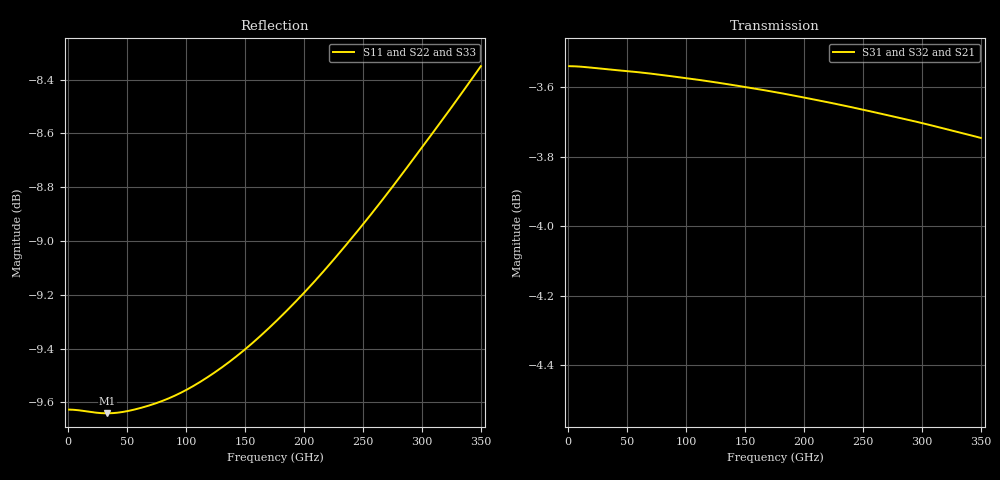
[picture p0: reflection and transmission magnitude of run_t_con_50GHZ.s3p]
#  Hz  S  RI  R  50
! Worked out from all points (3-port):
!   400 points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, 875 MHz to 350 GHz, reference 50 ohm
!   strongest paths, dB at 875 MHz, 88.38 GHz, 175.9 GHz, 263.4 GHz, 350 GHz:
!     S31: -3.5, -3.6, -3.6, -3.7, -3.7
!     S32: -3.5, -3.6, -3.6, -3.7, -3.7
!     S21: -3.5, -3.6, -3.7, -3.8, -3.9
!   lowest |S11| = -9.6 dB at 33.25 GHz (marker M1), VSWR 1.98, Z = 25.3 + j2.14 ohm
!   |S11| at or under -10 dB: nowhere
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8.75e8  -0.3301 0.00103  0.6647 -0.000865  0.6653 -0.000703
        0.6647 -0.000865  -0.3301 0.00103  0.6653 -0.000703
        0.6653 -0.000705  0.6653 -0.000706  -0.3307 0.000863
3.325e10  -0.3274 0.0377  0.663 -0.0321  0.6641 -0.0262
          0.663 -0.0321  -0.3274 0.0378  0.6641 -0.0262
          0.6641 -0.0262  0.6641 -0.0262  -0.3286 0.0319
6.7375e10  -0.3221 0.0745  0.6593 -0.0638  0.6617 -0.0523
           0.6593 -0.0638  -0.3221 0.0746  0.6617 -0.0523
           0.6617 -0.0523  0.6617 -0.0523  -0.3246 0.063
1.0325e11  -0.3137 0.1122  0.6534 -0.0965  0.6578 -0.0793
           0.6534 -0.0965  -0.3137 0.1123  0.6578 -0.0794
           0.6578 -0.0793  0.6578 -0.0793  -0.3182 0.095
1.39125e11  -0.3027 0.1487  0.6455 -0.1285  0.6527 -0.106
            0.6456 -0.1285  -0.3027 0.1488  0.6527 -0.106
            0.6527 -0.1059  0.6527 -0.106  -0.31 0.1261
1.75875e11  -0.2888 0.1845  0.6356 -0.1603  0.6462 -0.1327
            0.6356 -0.1603  -0.2888 0.1847  0.6462 -0.1327
            0.6462 -0.1326  0.6461 -0.1327  -0.2996 0.157
2.17875e11  -0.27 0.2235  0.622 -0.1952  0.6372 -0.1625
            0.622 -0.1952  -0.2699 0.2237  0.6372 -0.1626
            0.6372 -0.1624  0.6371 -0.1625  -0.2855 0.1909
2.59875e11  -0.2482 0.2601  0.6062 -0.2287  0.6268 -0.1916
            0.6062 -0.2287  -0.2481 0.2603  0.6267 -0.1916
            0.6267 -0.1914  0.6266 -0.1915  -0.2692 0.2232
3.045e11  -0.2223 0.2963  0.5873 -0.2624  0.614 -0.2215
          0.5873 -0.2624  -0.2222 0.2965  0.614 -0.2215
          0.614 -0.2212  0.6139 -0.2213  -0.2496 0.2556
3.5e11  -0.1932 0.33  0.566 -0.2946  0.5995 -0.2508
        0.566 -0.2946  -0.193 0.3302  0.5995 -0.2509
        0.5995 -0.2505  0.5994 -0.2506  -0.2274 0.2865
